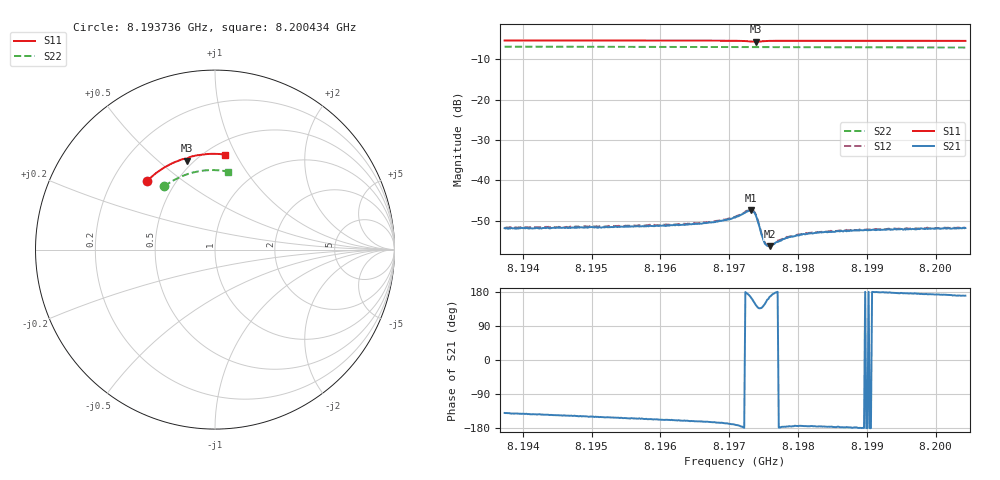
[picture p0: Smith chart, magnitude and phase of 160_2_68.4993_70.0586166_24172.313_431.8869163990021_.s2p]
#  HZ  S  RI  R  50.00
! Rohde & Schwarz Vector Network Analyzer
! Rohde-Schwarz,ZNB20-2Port,1311601062101988,3.16
! Created: UTC 3/20/2024, 5:10:54 PM
! freq[Hz]  re:S11  im:S11  re:S21  im:S21  re:S12  im:S12  re:S22  im:S22
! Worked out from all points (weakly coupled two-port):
!   401 points, 8.193736 GHz to 8.200434 GHz, reference 50 ohm
!   highest |S21| = -47.36 dB at 8.19732 GHz (marker M1); lowest = -56.3 dB at 8.197587 GHz (marker M2)
!   lowest |S11| = -5.7 dB at 8.197386 GHz (marker M3), VSWR 3.16, Z = 23.2 + j31.4 ohm
!   |S11| at or under -10 dB: nowhere
!   |S22| runs from -7.1 to -6.9 dB; largest |S21 - S12| = 0.00023
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8.193736e9  -0.3775 0.3843  -0.00195 -0.00165  -0.00205 -0.00159  -0.283 0.3518
8.194858e9  -0.3167 0.4348  -0.00225 -0.00135  -0.00233 -0.00132  -0.2307 0.3864
8.1959799e9  -0.2486 0.4759  -0.00251 -0.00105  -0.00261 -0.000973  -0.1739 0.4133
8.1963818e9  -0.2225 0.488  -0.00269 -0.000968  -0.00273 -0.000865  -0.1525 0.4209
8.1967669e9  -0.1962 0.4986  -0.00291 -0.000823  -0.00303 -0.000732  -0.1316 0.4271
8.1969846e9  -0.1804 0.5035  -0.0032 -0.000687  -0.00331 -0.000584  -0.1198 0.43
8.1970851e9  -0.1723 0.5052  -0.00342 -0.000561  -0.00352 -0.000429  -0.1143 0.4315
8.1972693e9  -0.1557 0.5039  -0.00412 0.000388  -0.00417 0.000579  -0.104 0.4335
8.1973195e9  -0.1522 0.5004  -0.00413 0.00116  -0.00416 0.00133  -0.1014 0.4339
8.197353e9  -0.1521 0.4975  -0.00374 0.00172  -0.00376 0.00193  -0.0995 0.4344
8.1973865e9  -0.1539 0.4957  -0.00306 0.00211  -0.00305 0.00227  -0.0978 0.4346
8.19742e9  -0.1565 0.4967  -0.00227 0.00205  -0.00226 0.0022  -0.0958 0.435
8.197487e9  -0.1572 0.5029  -0.00152 0.00126  -0.00147 0.00131  -0.0924 0.4359
8.1975205e9  -0.1553 0.5059  -0.0014 0.000864  -0.0014 0.000949  -0.0906 0.4362
8.1975539e9  -0.1531 0.5083  -0.00144 0.000553  -0.00142 0.000621  -0.0886 0.4366
8.1975874e9  -0.1505 0.5103  -0.00149 0.000358  -0.00153 0.000487  -0.0868 0.4369
8.1978554e9  -0.1298 0.5188  -0.00196 -0.000151  -0.00197 -8.88e-05  -0.0717 0.4391
8.1980898e9  -0.1124 0.5229  -0.00216 -0.000211  -0.00219 -0.000143  -0.0587 0.4408
8.198207e9  -0.1041 0.5247  -0.0022 -0.000222  -0.00226 -0.000137  -0.052 0.4413
8.1986759e9  -0.0707 0.5298  -0.00239 -0.000114  -0.0024 -1.93e-05  -0.0255 0.4429
8.1993289e9  -0.0241 0.5332  -0.00248 6.42e-05  -0.00251 0.000213  0.0118 0.4423
8.2004341e9  0.054 0.5298  -0.00254 0.000455  -0.00249 0.000567  0.0741 0.4341
